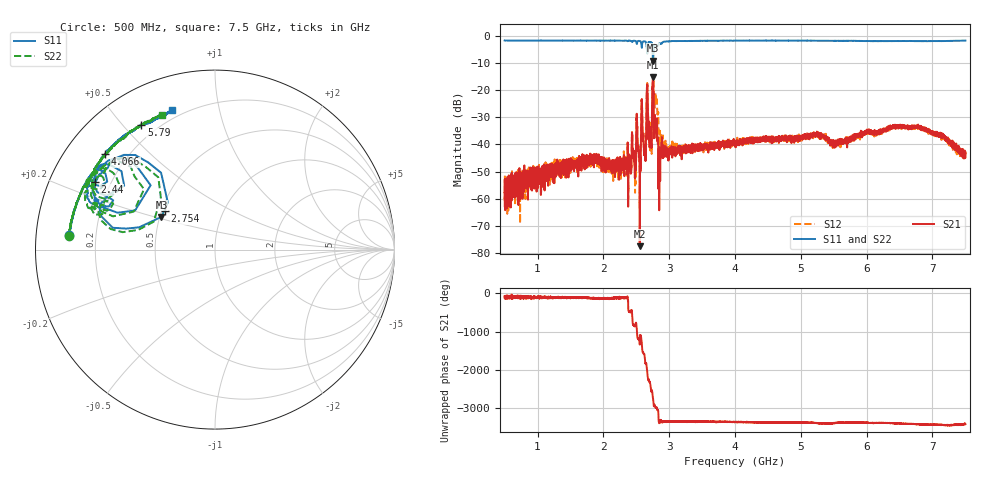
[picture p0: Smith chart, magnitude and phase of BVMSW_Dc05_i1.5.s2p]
!Keysight Technologies,M9374A,MY55442783,A.12.55.05
!Date: Thursday, May 20, 2021 18:43:26
!Correction: S11(Full 2 Port(1,2))
!S21(Full 2 Port(1,2))
!S12(Full 2 Port(1,2))
!S22(Full 2 Port(1,2))
!S2P File: Measurements: S11, S21, S12, S22:
# Hz S  RI  R 50
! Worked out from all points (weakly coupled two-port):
!   7001 points, 500 MHz to 7.5 GHz, reference 50 ohm
!   highest |S21| = -15.35 dB at 2.756 GHz (marker M1); lowest = -77.4 dB at 2.553 GHz (marker M2)
!   lowest |S11| = -9.1 dB at 2.756 GHz (marker M3), VSWR 2.08, Z = 25.5 + j10.6 ohm
!   |S11| at or under -10 dB: nowhere
!   |S22| runs from -8.6 to -1.7 dB; largest |S21 - S12| = 0.099
!   S11 on the Smith chart (normalised r, x): 500 MHz: 0.10, +0.05; 2.44 GHz: 0.14, +0.26; 2.754 GHz: 0.52, +0.26; 4.066 GHz: 0.12, +0.37; 5.79 GHz: 0.14, +0.56; 7.5 GHz: 0.16, +0.72
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5e8  -0.8132 0.081  0.000409 -0.00125  -0.000381 -0.00127  -0.8132 0.0769
1.667e9  -0.7684 0.2612  -0.0019 -0.00269  -0.00229 -0.00439  -0.7745 0.2461
2.145e9  -0.7368 0.3396  -0.0022 -0.00416  -0.00108 -0.00415  -0.7451 0.3188
2.44e9  -0.6712 0.3776  -0.00267 0.00971  -0.000825 0.0091  -0.6885 0.3536
2.553e9  -0.6575 0.4518  -1.85e-05 0.000133  -0.000136 0.00067  -0.6728 0.4245
2.603e9  -0.6729 0.3922  -0.00224 -0.014  -0.00111 -0.0125  -0.6868 0.3746
2.624e9  -0.6471 0.4513  -0.00832 -0.00276  -0.00621 -0.00229  -0.6602 0.4326
2.686e9  -0.6806 0.3398  0.000353 -0.0122  -0.00804 -0.0152  -0.6892 0.319
2.712e9  -0.6208 0.4352  -0.0115 0.00601  -0.00354 0.00726  -0.6317 0.4182
2.754e9  -0.2797 0.2156  -0.1019 0.1281  -0.1163 0.136  -0.315 0.2279
2.756e9  -0.2985 0.182  -0.052 0.1627  -0.0138 0.1901  -0.3409 0.1559
2.783e9  -0.611 0.276  0.00803 -0.0316  -0.0401 -0.053  -0.6119 0.2505
2.834e9  -0.6233 0.245  -0.00855 0.00663  -0.0385 -0.00544  -0.6183 0.2105
2.874e9  -0.6598 0.2828  0.000694 -0.00826  -0.000111 -0.0132  -0.6702 0.2515
2.998e9  -0.6964 0.3556  -0.00244 -0.00537  -0.00409 -0.00685  -0.7114 0.3245
4e9  -0.6187 0.5226  -0.00765 -0.0077  -0.00798 -0.00773  -0.6382 0.4919
4.066e9  -0.6115 0.5317  -0.00685 -0.00797  -0.00729 -0.00925  -0.6375 0.4994
5.167e9  -0.4883 0.6468  -0.0121 -0.00726  -0.0132 -0.0069  -0.5326 0.6076
5.79e9  -0.4101 0.6928  -0.0104 -0.00692  -0.0107 -0.0071  -0.4741 0.6562
6.334e9  -0.3519 0.7151  -0.0181 -0.00681  -0.0175 -0.00757  -0.4183 0.693
6.879e9  -0.2985 0.7375  -0.0172 0.00553  -0.0181 0.00668  -0.362 0.7205
7.5e9  -0.2421 0.7758  -0.00674 0.00108  -0.00679 0.000223  -0.2972 0.752
